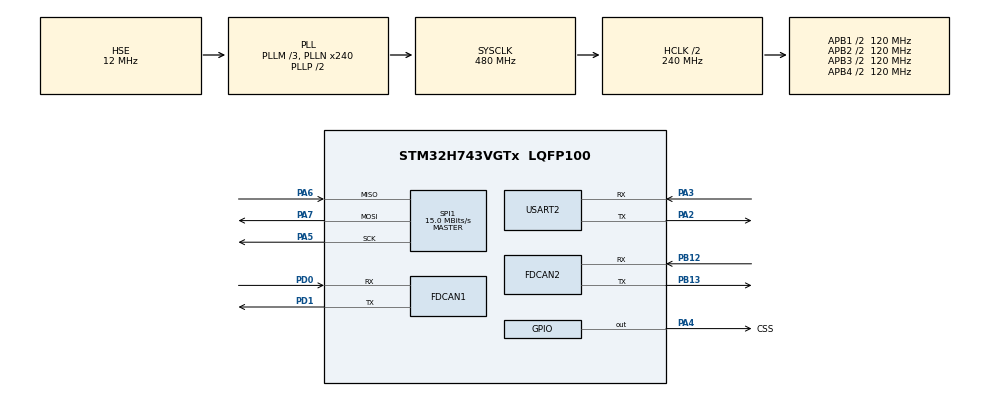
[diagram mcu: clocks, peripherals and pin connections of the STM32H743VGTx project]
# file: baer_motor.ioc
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CORTEX_M7.default_mode_Activation=1
FDCAN1.AutoRetransmission=ENABLE
FDCAN1.DataPrescaler=8
FDCAN1.DataTimeSeg1=10
FDCAN1.DataTimeSeg2=4
FDCAN1.NominalPrescaler=8
FDCAN1.NominalTimeSeg1=10
FDCAN1.NominalTimeSeg2=4
FDCAN1.RxFifo0ElmtsNbr=14
FDCAN1.TxFifoQueueElmtsNbr=14
FDCAN2.AutoRetransmission=ENABLE
FDCAN2.DataPrescaler=8
FDCAN2.DataSyncJumpWidth=1
FDCAN2.DataTimeSeg1=10
FDCAN2.DataTimeSeg2=4
FDCAN2.MessageRAMOffset=1024
FDCAN2.NominalPrescaler=8
FDCAN2.NominalTimeSeg1=10
FDCAN2.NominalTimeSeg2=4
FDCAN2.RxFifo0ElmtsNbr=14
FDCAN2.TxFifoQueueElmtsNbr=14
Mcu.Family=STM32H7
Mcu.Name=STM32H743VGTx
Mcu.Package=LQFP100
NVIC.PriorityGroup=NVIC_PRIORITYGROUP_4
NVIC.TIM5_IRQn=true\:0\:0\:false\:false\:true\:true\:true\:true
PA2.Mode=Asynchronous
PA2.Signal=USART2_TX
PA3.Mode=Asynchronous
PA3.Signal=USART2_RX
PA4.GPIO_Label=CSS
PA4.Signal=GPIO_Output
PA5.Mode=Full_Duplex_Master
PA5.Signal=SPI1_SCK
PA6.Mode=Full_Duplex_Master
PA6.Signal=SPI1_MISO
PA7.Mode=Full_Duplex_Master
PA7.Signal=SPI1_MOSI
PB12.Mode=FDCAN_Activate
PB12.Signal=FDCAN2_RX
PB13.Mode=FDCAN_Activate
PB13.Signal=FDCAN2_TX
PD0.Mode=FDCAN_Activate
PD0.Signal=FDCAN1_RX
PD1.Mode=FDCAN_Activate
PD1.Signal=FDCAN1_TX
PH0-OSC_IN\ (PH0).Mode=HSE-External-Oscillator
PH0-OSC_IN\ (PH0).Signal=RCC_OSC_IN
PH1-OSC_OUT\ (PH1).Mode=HSE-External-Oscillator
PH1-OSC_OUT\ (PH1).Signal=RCC_OSC_OUT
ProjectManager.HeapSize=0x200
ProjectManager.StackSize=0x400
ProjectManager.TargetToolchain=STM32CubeIDE
RCC.ADCFreq_Value=24187500
RCC.APB1Freq_Value=120000000
RCC.APB2Freq_Value=120000000
RCC.APB3Freq_Value=120000000
RCC.APB4Freq_Value=120000000
RCC.CortexFreq_Value=480000000
RCC.D1PPRE=RCC_APB3_DIV2
RCC.D2PPRE1=RCC_APB1_DIV2
RCC.D2PPRE2=RCC_APB2_DIV2
RCC.D3PPRE=RCC_APB4_DIV2
RCC.DIVM1=3
RCC.DIVN1=240
RCC.DIVQ1=8
RCC.HCLKFreq_Value=240000000
RCC.HPRE=RCC_HCLK_DIV2
RCC.HSE_VALUE=12000000
RCC.PLLSourceVirtual=RCC_PLLSOURCE_HSE
RCC.SYSCLKFreq_VALUE=480000000
RCC.SYSCLKSource=RCC_SYSCLKSOURCE_PLLCLK
RCC.USBFreq_Value=120000000
SPI1.BaudRatePrescaler=SPI_BAUDRATEPRESCALER_8
SPI1.CLKPhase=SPI_PHASE_2EDGE
SPI1.CLKPolarity=SPI_POLARITY_HIGH
SPI1.CalculateBaudRate=15.0 MBits/s
SPI1.DataSize=SPI_DATASIZE_8BIT
SPI1.Direction=SPI_DIRECTION_2LINES
SPI1.Mode=SPI_MODE_MASTER
SPI1.VirtualType=VM_MASTER
TIM2.Prescaler=239
TIM4.Prescaler=239
TIM5.Period=999
TIM5.Prescaler=239
USART2.VirtualMode-Asynchronous=VM_ASYNC
VP_TIM2_VS_ClockSourceINT.Mode=Internal
VP_TIM4_VS_ClockSourceINT.Mode=Internal
VP_TIM5_VS_ClockSourceINT.Mode=Internal
board=custom

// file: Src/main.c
/* USER CODE BEGIN Header */
/**
  ******************************************************************************
  * @file           : main.c
  * @brief          : Main program body
  ******************************************************************************
  * @attention
  *
  * Copyright (c) 2022 STMicroelectronics.
  * All rights reserved.
  *
  * This software is licensed under terms that can be found in the LICENSE file
  * in the root directory of this software component.
  * If no LICENSE file comes with this software, it is provided AS-IS.
  *
  ******************************************************************************
  */
/* USER CODE END Header */
#include "main.h"

/* USER CODE BEGIN Includes */
#include "../lan9252/lan9252.h"
/* USER CODE END Includes */

/* USER CODE BEGIN PD */
PROCBUFFER_OUT 	BufferOut;
PROCBUFFER_IN 	BufferIn;

spiCTX ethercat_slave;

/* USER CODE END PD */

FDCAN_HandleTypeDef hfdcan1;
FDCAN_HandleTypeDef hfdcan2;

SPI_HandleTypeDef hspi1;

TIM_HandleTypeDef htim2;
TIM_HandleTypeDef htim4;
TIM_HandleTypeDef htim5;

UART_HandleTypeDef huart2;

/* USER CODE BEGIN PV */

// joint 1-7 in can1
FDCAN_TxHeaderTypeDef joint_1;
FDCAN_TxHeaderTypeDef joint_2;
FDCAN_TxHeaderTypeDef joint_3;
FDCAN_TxHeaderTypeDef joint_4;
FDCAN_TxHeaderTypeDef joint_5;
FDCAN_TxHeaderTypeDef joint_6;
FDCAN_TxHeaderTypeDef joint_7;

// joint 8-14 in can2
FDCAN_TxHeaderTypeDef joint_8;
FDCAN_TxHeaderTypeDef joint_9;
FDCAN_TxHeaderTypeDef joint_10;
FDCAN_TxHeaderTypeDef joint_11;
FDCAN_TxHeaderTypeDef joint_12;
FDCAN_TxHeaderTypeDef joint_13;
FDCAN_TxHeaderTypeDef joint_14;

uint8_t tx_msg_buffer[8];

uint8_t joint_1_data[8];
uint8_t joint_2_data[8];
uint8_t joint_3_data[8];
uint8_t joint_4_data[8];
uint8_t joint_5_data[8];
uint8_t joint_6_data[8];
uint8_t joint_7_data[8];
uint8_t joint_8_data[8];
uint8_t joint_9_data[8];
uint8_t joint_10_data[8];
uint8_t joint_11_data[8];
uint8_t joint_12_data[8];
uint8_t joint_13_data[8];
uint8_t joint_14_data[8];

uint64_t joint_r_data[14];

FDCAN_RxHeaderTypeDef rx_header;
uint8_t rx_data[8];

// for ethercat var
uint64_t hs_ = 0;

union Byte8
{
	uint64_t udata;
	uint8_t buffer[8];
};

union Byte8 byte_8;
union Byte8 byte_8_reply;
uint64_t reply_hs[6];

/* USER CODE END PV */

void SystemClock_Config(void);
static void MPU_Config(void);
static void MX_GPIO_Init(void);
static void MX_FDCAN1_Init(void);
static void MX_FDCAN2_Init(void);
static void MX_SPI1_Init(void);
static void MX_TIM2_Init(void);
static void MX_TIM4_Init(void);
static void MX_TIM5_Init(void);
static void MX_USART2_UART_Init(void);
/* USER CODE BEGIN PFP */

void delay_us(uint16_t us)
{
	__HAL_TIM_SET_COUNTER(&htim4, 0);
	while (__HAL_TIM_GET_COUNTER(&htim4) < us) ;
}

void unpack_reply(FDCAN_RxHeaderTypeDef *pRxHeader, uint8_t *data)
{
	//TODO
	/*if (pRxHeader->DataLength == FDCAN_DLC_BYTES_6)
	{
		int id = data[0] & 0xF;
		if (id > 0 && id < 7)
		{
			for (size_t i = 0; i < 6; i++)
			{
				byte_8_reply.buffer[i] = data[i];
			}

			joint_r_data[id - 1] = byte_8_reply.udata;
			reply_hs[id - 1] = hs_;
		}
	}
	else if (pRxHeader->DataLength == FDCAN_DLC_BYTES_5)
	{
		int id = data[4];
		if (id > 0 && id < 7)
		{
			for (size_t i = 0; i < 5; i++)
			{
				byte_8_reply.buffer[i] = data[i];
			}

			for (size_t i = 5; i < 8; i++)
			{
				byte_8_reply.buffer[i] = 0;
			}

			joint_r_data[id - 1] = byte_8_reply.udata;
			reply_hs[id - 1] = hs_;
		}
	}*/

	if (pRxHeader->DataLength == FDCAN_DLC_BYTES_8)
	{
		int id = data[0] & 0xF;
		if (id > 0 && id < 15)
		{
			for (size_t i = 0; i < 8; i++)
			{
				byte_8_reply.buffer[i] = data[i];
			}

			joint_r_data[id - 1] = byte_8_reply.udata;
			reply_hs[id - 1] = hs_;
		}
	}
	else if (pRxHeader->DataLength == FDCAN_DLC_BYTES_6)
	{
		int id = data[0] & 0xF;
		if (id > 0 && id < 15)
		{
			for (size_t i = 0; i < 6; i++)
			{
				byte_8_reply.buffer[i] = data[i];
			}

			joint_r_data[id - 1] = byte_8_reply.udata;
			reply_hs[id - 1] = hs_;
		}
	}

}

/* USER CODE END PFP */

/* USER CODE BEGIN 0 */
void motor_enable(FDCAN_TxHeaderTypeDef* joint_tx, uint8_t* data_buffer)
{
	joint_tx->DataLength = FDCAN_DLC_BYTES_8;
	data_buffer[0] = 0xff;
	data_buffer[1] = 0xff;
	data_buffer[2] = 0xff;
	data_buffer[3] = 0xff;
	data_buffer[4] = 0xff;
	data_buffer[5] = 0xff;
	data_buffer[6] = 0xff;
	data_buffer[7] = 0xfc;
}

void motor_zero(FDCAN_TxHeaderTypeDef* joint_tx, uint8_t* data_buffer)
{
	joint_tx->DataLength = FDCAN_DLC_BYTES_8;
	data_buffer[0] = 0xff;
	data_buffer[1] = 0xff;
	data_buffer[2] = 0xff;
	data_buffer[3] = 0xff;
	data_buffer[4] = 0xff;
	data_buffer[5] = 0xff;
	data_buffer[6] = 0xff;
	data_buffer[7] = 0xfe;
}

void motor_disable(FDCAN_TxHeaderTypeDef* joint_tx, uint8_t* data_buffer)
{
	joint_tx->DataLength = FDCAN_DLC_BYTES_8;
	data_buffer[0] = 0xff;
	data_buffer[1] = 0xff;
	data_buffer[2] = 0xff;
	data_buffer[3] = 0xff;
	data_buffer[4] = 0xff;
	data_buffer[5] = 0xff;
	data_buffer[6] = 0xff;
	data_buffer[7] = 0xfd;
}

void motor_encoder_val(FDCAN_TxHeaderTypeDef* joint_tx, uint8_t* data_buffer, uint8_t joint_no)
{
	joint_tx->DataLength = FDCAN_DLC_BYTES_8;
	data_buffer[0] = joint_no;
	data_buffer[1] = 0xff;
	data_buffer[2] = 0xff;
	data_buffer[3] = 0xff;
	data_buffer[4] = 0xff;
	data_buffer[5] = 0xff;
	data_buffer[6] = 0xff;
	data_buffer[7] = 0xf8;
}

/* USER CODE END 0 */

int main(void)
{

  /* MPU Configuration--------------------------------------------------------*/
  MPU_Config();

  /* MCU Configuration--------------------------------------------------------*/

  /* Reset of all peripherals, Initializes the Flash interface and the Systick. */
  HAL_Init();

  /* Configure the system clock */
  SystemClock_Config();

  /* Initialize all configured peripherals */
  MX_GPIO_Init();
  MX_FDCAN1_Init();
  MX_FDCAN2_Init();
  MX_SPI1_Init();
  MX_TIM2_Init();
  MX_TIM4_Init();
  MX_TIM5_Init();
  MX_USART2_UART_Init();
  /* USER CODE BEGIN 2 */

	//1. init tx msg
	joint_1.Identifier = 0x101;
	joint_1.IdType = FDCAN_STANDARD_ID;
	joint_1.TxFrameType = FDCAN_DATA_FRAME;
	joint_1.DataLength = FDCAN_DLC_BYTES_8;
	joint_1.ErrorStateIndicator = FDCAN_ESI_ACTIVE;
	joint_1.BitRateSwitch = FDCAN_BRS_OFF;
	joint_1.FDFormat = FDCAN_CLASSIC_CAN;
	joint_1.TxEventFifoControl = FDCAN_NO_TX_EVENTS;
	joint_1.MessageMarker = 0;

	joint_2.Identifier = 0x102;
	joint_2.IdType = FDCAN_STANDARD_ID;
	joint_2.TxFrameType = FDCAN_DATA_FRAME;
	joint_2.DataLength = FDCAN_DLC_BYTES_8;
	joint_2.ErrorStateIndicator = FDCAN_ESI_ACTIVE;
	joint_2.BitRateSwitch = FDCAN_BRS_OFF;
	joint_2.FDFormat = FDCAN_CLASSIC_CAN;
	joint_2.TxEventFifoControl = FDCAN_NO_TX_EVENTS;
	joint_2.MessageMarker = 0;

	joint_3.Identifier = 0x103;
	joint_3.IdType = FDCAN_STANDARD_ID;
	joint_3.TxFrameType = FDCAN_DATA_FRAME;
	joint_3.DataLength = FDCAN_DLC_BYTES_8;
	joint_3.ErrorStateIndicator = FDCAN_ESI_ACTIVE;
	joint_3.BitRateSwitch = FDCAN_BRS_OFF;
	joint_3.FDFormat = FDCAN_CLASSIC_CAN;
	joint_3.TxEventFifoControl = FDCAN_NO_TX_EVENTS;
	joint_3.MessageMarker = 0;

	joint_4.Identifier = 0x104;
	joint_4.IdType = FDCAN_STANDARD_ID;
	joint_4.TxFrameType = FDCAN_DATA_FRAME;
	joint_4.DataLength = FDCAN_DLC_BYTES_8;
	joint_4.ErrorStateIndicator = FDCAN_ESI_ACTIVE;
	joint_4.BitRateSwitch = FDCAN_BRS_OFF;
	joint_4.FDFormat = FDCAN_CLASSIC_CAN;
	joint_4.TxEventFifoControl = FDCAN_NO_TX_EVENTS;
	joint_4.MessageMarker = 0;

	joint_5.Identifier = 0x105;
	joint_5.IdType = FDCAN_STANDARD_ID;
	joint_5.TxFrameType = FDCAN_DATA_FRAME;
	joint_5.DataLength = FDCAN_DLC_BYTES_8;
	joint_5.ErrorStateIndicator = FDCAN_ESI_ACTIVE;
	joint_5.BitRateSwitch = FDCAN_BRS_OFF;
	joint_5.FDFormat = FDCAN_CLASSIC_CAN;
	joint_5.TxEventFifoControl = FDCAN_NO_TX_EVENTS;
	joint_5.MessageMarker = 0;

	joint_6.Identifier = 0x106;
	joint_6.IdType = FDCAN_STANDARD_ID;
	joint_6.TxFrameType = FDCAN_DATA_FRAME;
	joint_6.DataLength = FDCAN_DLC_BYTES_8;
	joint_6.ErrorStateIndicator = FDCAN_ESI_ACTIVE;
	joint_6.BitRateSwitch = FDCAN_BRS_OFF;
	joint_6.FDFormat = FDCAN_CLASSIC_CAN;
	joint_6.TxEventFifoControl = FDCAN_NO_TX_EVENTS;
	joint_6.MessageMarker = 0;

	joint_7.Identifier = 0x107;
	joint_7.IdType = FDCAN_STANDARD_ID;
	joint_7.TxFrameType = FDCAN_DATA_FRAME;
	joint_7.DataLength = FDCAN_DLC_BYTES_8;
	joint_7.ErrorStateIndicator = FDCAN_ESI_ACTIVE;
	joint_7.BitRateSwitch = FDCAN_BRS_OFF;
	joint_7.FDFormat = FDCAN_CLASSIC_CAN;
	joint_7.TxEventFifoControl = FDCAN_NO_TX_EVENTS;
	joint_7.MessageMarker = 0;

	joint_8.Identifier = 0x108;
	joint_8.IdType = FDCAN_STANDARD_ID;
	joint_8.TxFrameType = FDCAN_DATA_FRAME;
	joint_8.DataLength = FDCAN_DLC_BYTES_8;
	joint_8.ErrorStateIndicator = FDCAN_ESI_ACTIVE;
	joint_8.BitRateSwitch = FDCAN_BRS_OFF;
	joint_8.FDFormat = FDCAN_CLASSIC_CAN;
	joint_8.TxEventFifoControl = FDCAN_NO_TX_EVENTS;
	joint_8.MessageMarker = 0;

	joint_9.Identifier = 0x109;
	joint_9.IdType = FDCAN_STANDARD_ID;
	joint_9.TxFrameType = FDCAN_DATA_FRAME;
	joint_9.DataLength = FDCAN_DLC_BYTES_8;
	joint_9.ErrorStateIndicator = FDCAN_ESI_ACTIVE;
	joint_9.BitRateSwitch = FDCAN_BRS_OFF;
	joint_9.FDFormat = FDCAN_CLASSIC_CAN;
	joint_9.TxEventFifoControl = FDCAN_NO_TX_EVENTS;
	joint_9.MessageMarker = 0;

	joint_10.Identifier = 0x10a;
	joint_10.IdType = FDCAN_STANDARD_ID;
	joint_10.TxFrameType = FDCAN_DATA_FRAME;
	joint_10.DataLength = FDCAN_DLC_BYTES_8;
	joint_10.ErrorStateIndicator = FDCAN_ESI_ACTIVE;
	joint_10.BitRateSwitch = FDCAN_BRS_OFF;
	joint_10.FDFormat = FDCAN_CLASSIC_CAN;
	joint_10.TxEventFifoControl = FDCAN_NO_TX_EVENTS;
	joint_10.MessageMarker = 0;

	joint_11.Identifier = 0x10b;
	joint_11.IdType = FDCAN_STANDARD_ID;
	joint_11.TxFrameType = FDCAN_DATA_FRAME;
	joint_11.DataLength = FDCAN_DLC_BYTES_8;
	joint_11.ErrorStateIndicator = FDCAN_ESI_ACTIVE;
	joint_11.BitRateSwitch = FDCAN_BRS_OFF;
	joint_11.FDFormat = FDCAN_CLASSIC_CAN;
	joint_11.TxEventFifoControl = FDCAN_NO_TX_EVENTS;
	joint_11.MessageMarker = 0;

	joint_12.Identifier = 0x10c;
	joint_12.IdType = FDCAN_STANDARD_ID;
	joint_12.TxFrameType = FDCAN_DATA_FRAME;
	joint_12.DataLength = FDCAN_DLC_BYTES_8;
	joint_12.ErrorStateIndicator = FDCAN_ESI_ACTIVE;
	joint_12.BitRateSwitch = FDCAN_BRS_OFF;
	joint_12.FDFormat = FDCAN_CLASSIC_CAN;
	joint_12.TxEventFifoControl = FDCAN_NO_TX_EVENTS;
	joint_12.MessageMarker = 0;

	joint_13.Identifier = 0x10d;
	joint_13.IdType = FDCAN_STANDARD_ID;
	joint_13.TxFrameType = FDCAN_DATA_FRAME;
	joint_13.DataLength = FDCAN_DLC_BYTES_8;
	joint_13.ErrorStateIndicator = FDCAN_ESI_ACTIVE;
	joint_13.BitRateSwitch = FDCAN_BRS_OFF;
	joint_13.FDFormat = FDCAN_CLASSIC_CAN;
	joint_13.TxEventFifoControl = FDCAN_NO_TX_EVENTS;
	joint_13.MessageMarker = 0;

	joint_14.Identifier = 0x10e;
	joint_14.IdType = FDCAN_STANDARD_ID;
	joint_14.TxFrameType = FDCAN_DATA_FRAME;
	joint_14.DataLength = FDCAN_DLC_BYTES_8;
	joint_14.ErrorStateIndicator = FDCAN_ESI_ACTIVE;
	joint_14.BitRateSwitch = FDCAN_BRS_OFF;
	joint_14.FDFormat = FDCAN_CLASSIC_CAN;
	joint_14.TxEventFifoControl = FDCAN_NO_TX_EVENTS;
	joint_14.MessageMarker = 0;

	HAL_FDCAN_Start(&hfdcan1);
	HAL_FDCAN_Start(&hfdcan2);

	HAL_Delay(10);
	HAL_TIM_Base_Start(&htim2);
	HAL_TIM_Base_Start(&htim4);

	HAL_Delay(10);

	// 1. init lan9252
	ethercat_slave.spi = &hspi1;
	ethercat_slave.uart = &huart2;
	ethercat_slave.bIn = &BufferIn;
	ethercat_slave.bOut = &BufferOut;
	HAL_Delay(10);

	init9252(&ethercat_slave);

	HAL_Delay(100);

	HAL_TIM_Base_Start_IT(&htim5);

	HAL_Delay(100);

  /* USER CODE END 2 */

  /* Infinite loop */
  while (1)
  {

    /* USER CODE BEGIN 3 */
	  if (HAL_FDCAN_GetRxMessage(&hfdcan1, FDCAN_RX_FIFO0, &rx_header, rx_data) == HAL_OK)
	  {
		  unpack_reply(&rx_header, rx_data);
	  }
	  if (HAL_FDCAN_GetRxMessage(&hfdcan2, FDCAN_RX_FIFO0, &rx_header, rx_data) == HAL_OK)
	  {
		  unpack_reply(&rx_header, rx_data);
	  }
	  delay_us(10);
  }
  /* USER CODE END 3 */
}

void SystemClock_Config(void)
{
  RCC_OscInitTypeDef RCC_OscInitStruct = {0};
  RCC_ClkInitTypeDef RCC_ClkInitStruct = {0};

  /** Supply configuration update enable
  */
  HAL_PWREx_ConfigSupply(PWR_LDO_SUPPLY);

  /** Configure the main internal regulator output voltage
  */
  __HAL_PWR_VOLTAGESCALING_CONFIG(PWR_REGULATOR_VOLTAGE_SCALE0);

  while(!__HAL_PWR_GET_FLAG(PWR_FLAG_VOSRDY)) {}

  /** Initializes the RCC Oscillators according to the specified parameters
  * in the RCC_OscInitTypeDef structure.
  */
  RCC_OscInitStruct.OscillatorType = RCC_OSCILLATORTYPE_HSE;
  RCC_OscInitStruct.HSEState = RCC_HSE_ON;
  RCC_OscInitStruct.PLL.PLLState = RCC_PLL_ON;
  RCC_OscInitStruct.PLL.PLLSource = RCC_PLLSOURCE_HSE;
  RCC_OscInitStruct.PLL.PLLM = 3;
  RCC_OscInitStruct.PLL.PLLN = 240;
  RCC_OscInitStruct.PLL.PLLP = 2;
  RCC_OscInitStruct.PLL.PLLQ = 8;
  RCC_OscInitStruct.PLL.PLLR = 2;
  RCC_OscInitStruct.PLL.PLLRGE = RCC_PLL1VCIRANGE_2;
  RCC_OscInitStruct.PLL.PLLVCOSEL = RCC_PLL1VCOWIDE;
  RCC_OscInitStruct.PLL.PLLFRACN = 0;
  if (HAL_RCC_OscConfig(&RCC_OscInitStruct) != HAL_OK)
  {
    Error_Handler();
  }

  /** Initializes the CPU, AHB and APB buses clocks
  */
  RCC_ClkInitStruct.ClockType = RCC_CLOCKTYPE_HCLK|RCC_CLOCKTYPE_SYSCLK
                              |RCC_CLOCKTYPE_PCLK1|RCC_CLOCKTYPE_PCLK2
                              |RCC_CLOCKTYPE_D3PCLK1|RCC_CLOCKTYPE_D1PCLK1;
  RCC_ClkInitStruct.SYSCLKSource = RCC_SYSCLKSOURCE_PLLCLK;
  RCC_ClkInitStruct.SYSCLKDivider = RCC_SYSCLK_DIV1;
  RCC_ClkInitStruct.AHBCLKDivider = RCC_HCLK_DIV2;
  RCC_ClkInitStruct.APB3CLKDivider = RCC_APB3_DIV2;
  RCC_ClkInitStruct.APB1CLKDivider = RCC_APB1_DIV2;
  RCC_ClkInitStruct.APB2CLKDivider = RCC_APB2_DIV2;
  RCC_ClkInitStruct.APB4CLKDivider = RCC_APB4_DIV2;

  if (HAL_RCC_ClockConfig(&RCC_ClkInitStruct, FLASH_LATENCY_4) != HAL_OK)
  {
    Error_Handler();
  }
}

static void MX_FDCAN1_Init(void)
{

  hfdcan1.Instance = FDCAN1;
  hfdcan1.Init.FrameFormat = FDCAN_FRAME_CLASSIC;
  hfdcan1.Init.Mode = FDCAN_MODE_NORMAL;
  hfdcan1.Init.AutoRetransmission = ENABLE;
  hfdcan1.Init.TransmitPause = DISABLE;
  hfdcan1.Init.ProtocolException = DISABLE;
  hfdcan1.Init.NominalPrescaler = 8;
  hfdcan1.Init.NominalSyncJumpWidth = 1;
  hfdcan1.Init.NominalTimeSeg1 = 10;
  hfdcan1.Init.NominalTimeSeg2 = 4;
  hfdcan1.Init.DataPrescaler = 8;
  hfdcan1.Init.DataSyncJumpWidth = 1;
  hfdcan1.Init.DataTimeSeg1 = 10;
  hfdcan1.Init.DataTimeSeg2 = 4;
  hfdcan1.Init.MessageRAMOffset = 0;
  hfdcan1.Init.StdFiltersNbr = 0;
  hfdcan1.Init.ExtFiltersNbr = 0;
  hfdcan1.Init.RxFifo0ElmtsNbr = 14;
  hfdcan1.Init.RxFifo0ElmtSize = FDCAN_DATA_BYTES_8;
  hfdcan1.Init.RxFifo1ElmtsNbr = 0;
  hfdcan1.Init.RxFifo1ElmtSize = FDCAN_DATA_BYTES_8;
  hfdcan1.Init.RxBuffersNbr = 0;
  hfdcan1.Init.RxBufferSize = FDCAN_DATA_BYTES_8;
  hfdcan1.Init.TxEventsNbr = 0;
  hfdcan1.Init.TxBuffersNbr = 0;
  hfdcan1.Init.TxFifoQueueElmtsNbr = 14;
  hfdcan1.Init.TxFifoQueueMode = FDCAN_TX_FIFO_OPERATION;
  hfdcan1.Init.TxElmtSize = FDCAN_DATA_BYTES_8;
  if (HAL_FDCAN_Init(&hfdcan1) != HAL_OK)
  {
    Error_Handler();
  }

}

static void MX_FDCAN2_Init(void)
{

  hfdcan2.Instance = FDCAN2;
  hfdcan2.Init.FrameFormat = FDCAN_FRAME_CLASSIC;
  hfdcan2.Init.Mode = FDCAN_MODE_NORMAL;
  hfdcan2.Init.AutoRetransmission = ENABLE;
  hfdcan2.Init.TransmitPause = DISABLE;
  hfdcan2.Init.ProtocolException = DISABLE;
  hfdcan2.Init.NominalPrescaler = 8;
  hfdcan2.Init.NominalSyncJumpWidth = 1;
  hfdcan2.Init.NominalTimeSeg1 = 10;
  hfdcan2.Init.NominalTimeSeg2 = 4;
  hfdcan2.Init.DataPrescaler = 8;
  hfdcan2.Init.DataSyncJumpWidth = 1;
  hfdcan2.Init.DataTimeSeg1 = 10;
  hfdcan2.Init.DataTimeSeg2 = 4;
  hfdcan2.Init.MessageRAMOffset = 1024;
  hfdcan2.Init.StdFiltersNbr = 0;
  hfdcan2.Init.ExtFiltersNbr = 0;
  hfdcan2.Init.RxFifo0ElmtsNbr = 14;
  hfdcan2.Init.RxFifo0ElmtSize = FDCAN_DATA_BYTES_8;
  hfdcan2.Init.RxFifo1ElmtsNbr = 0;
  hfdcan2.Init.RxFifo1ElmtSize = FDCAN_DATA_BYTES_8;
  hfdcan2.Init.RxBuffersNbr = 0;
  hfdcan2.Init.RxBufferSize = FDCAN_DATA_BYTES_8;
  hfdcan2.Init.TxEventsNbr = 0;
  hfdcan2.Init.TxBuffersNbr = 0;
  hfdcan2.Init.TxFifoQueueElmtsNbr = 14;
  hfdcan2.Init.TxFifoQueueMode = FDCAN_TX_FIFO_OPERATION;
  hfdcan2.Init.TxElmtSize = FDCAN_DATA_BYTES_8;
  if (HAL_FDCAN_Init(&hfdcan2) != HAL_OK)
  {
    Error_Handler();
  }

}

static void MX_SPI1_Init(void)
{

  /* SPI1 parameter configuration*/
  hspi1.Instance = SPI1;
  hspi1.Init.Mode = SPI_MODE_MASTER;
  hspi1.Init.Direction = SPI_DIRECTION_2LINES;
  hspi1.Init.DataSize = SPI_DATASIZE_8BIT;
  hspi1.Init.CLKPolarity = SPI_POLARITY_HIGH;
  hspi1.Init.CLKPhase = SPI_PHASE_2EDGE;
  hspi1.Init.NSS = SPI_NSS_SOFT;
  hspi1.Init.BaudRatePrescaler = SPI_BAUDRATEPRESCALER_8;
  hspi1.Init.FirstBit = SPI_FIRSTBIT_MSB;
  hspi1.Init.TIMode = SPI_TIMODE_DISABLE;
  hspi1.Init.CRCCalculation = SPI_CRCCALCULATION_DISABLE;
  hspi1.Init.CRCPolynomial = 0x0;
  hspi1.Init.NSSPMode = SPI_NSS_PULSE_ENABLE;
  hspi1.Init.NSSPolarity = SPI_NSS_POLARITY_LOW;
  hspi1.Init.FifoThreshold = SPI_FIFO_THRESHOLD_01DATA;
  hspi1.Init.TxCRCInitializationPattern = SPI_CRC_INITIALIZATION_ALL_ZERO_PATTERN;
  hspi1.Init.RxCRCInitializationPattern = SPI_CRC_INITIALIZATION_ALL_ZERO_PATTERN;
  hspi1.Init.MasterSSIdleness = SPI_MASTER_SS_IDLENESS_00CYCLE;
  hspi1.Init.MasterInterDataIdleness = SPI_MASTER_INTERDATA_IDLENESS_00CYCLE;
  hspi1.Init.MasterReceiverAutoSusp = SPI_MASTER_RX_AUTOSUSP_DISABLE;
  hspi1.Init.MasterKeepIOState = SPI_MASTER_KEEP_IO_STATE_DISABLE;
  hspi1.Init.IOSwap = SPI_IO_SWAP_DISABLE;
  if (HAL_SPI_Init(&hspi1) != HAL_OK)
  {
    Error_Handler();
  }

}

static void MX_TIM2_Init(void)
{

  TIM_ClockConfigTypeDef sClockSourceConfig = {0};
  TIM_MasterConfigTypeDef sMasterConfig = {0};

  htim2.Instance = TIM2;
  htim2.Init.Prescaler = 239;
  htim2.Init.CounterMode = TIM_COUNTERMODE_UP;
  htim2.Init.Period = 4294967295;
  htim2.Init.ClockDivision = TIM_CLOCKDIVISION_DIV1;
  htim2.Init.AutoReloadPreload = TIM_AUTORELOAD_PRELOAD_DISABLE;
  if (HAL_TIM_Base_Init(&htim2) != HAL_OK)
  {
    Error_Handler();
  }
  sClockSourceConfig.ClockSource = TIM_CLOCKSOURCE_INTERNAL;
  if (HAL_TIM_ConfigClockSource(&htim2, &sClockSourceConfig) != HAL_OK)
  {
    Error_Handler();
  }
  sMasterConfig.MasterOutputTrigger = TIM_TRGO_RESET;
  sMasterConfig.MasterSlaveMode = TIM_MASTERSLAVEMODE_DISABLE;
  if (HAL_TIMEx_MasterConfigSynchronization(&htim2, &sMasterConfig) != HAL_OK)
  {
    Error_Handler();
  }

}

static void MX_TIM4_Init(void)
{

  TIM_ClockConfigTypeDef sClockSourceConfig = {0};
  TIM_MasterConfigTypeDef sMasterConfig = {0};

  htim4.Instance = TIM4;
  htim4.Init.Prescaler = 239;
  htim4.Init.CounterMode = TIM_COUNTERMODE_UP;
  htim4.Init.Period = 65535;
  htim4.Init.ClockDivision = TIM_CLOCKDIVISION_DIV1;
  htim4.Init.AutoReloadPreload = TIM_AUTORELOAD_PRELOAD_DISABLE;
  if (HAL_TIM_Base_Init(&htim4) != HAL_OK)
  {
    Error_Handler();
  }
  sClockSourceConfig.ClockSource = TIM_CLOCKSOURCE_INTERNAL;
  if (HAL_TIM_ConfigClockSource(&htim4, &sClockSourceConfig) != HAL_OK)
  {
    Error_Handler();
  }
  sMasterConfig.MasterOutputTrigger = TIM_TRGO_RESET;
  sMasterConfig.MasterSlaveMode = TIM_MASTERSLAVEMODE_DISABLE;
  if (HAL_TIMEx_MasterConfigSynchronization(&htim4, &sMasterConfig) != HAL_OK)
  {
    Error_Handler();
  }

}

static void MX_TIM5_Init(void)
{

  TIM_ClockConfigTypeDef sClockSourceConfig = {0};
  TIM_MasterConfigTypeDef sMasterConfig = {0};

  htim5.Instance = TIM5;
  htim5.Init.Prescaler = 239;
  htim5.Init.CounterMode = TIM_COUNTERMODE_UP;
  htim5.Init.Period = 999;
  htim5.Init.ClockDivision = TIM_CLOCKDIVISION_DIV1;
  htim5.Init.AutoReloadPreload = TIM_AUTORELOAD_PRELOAD_DISABLE;
  if (HAL_TIM_Base_Init(&htim5) != HAL_OK)
  {
    Error_Handler();
  }
  sClockSourceConfig.ClockSource = TIM_CLOCKSOURCE_INTERNAL;
  if (HAL_TIM_ConfigClockSource(&htim5, &sClockSourceConfig) != HAL_OK)
  {
    Error_Handler();
  }
  sMasterConfig.MasterOutputTrigger = TIM_TRGO_RESET;
  sMasterConfig.MasterSlaveMode = TIM_MASTERSLAVEMODE_DISABLE;
  if (HAL_TIMEx_MasterConfigSynchronization(&htim5, &sMasterConfig) != HAL_OK)
  {
    Error_Handler();
  }

}

static void MX_USART2_UART_Init(void)
{

  huart2.Instance = USART2;
  huart2.Init.BaudRate = 115200;
  huart2.Init.WordLength = UART_WORDLENGTH_8B;
  huart2.Init.StopBits = UART_STOPBITS_1;
  huart2.Init.Parity = UART_PARITY_NONE;
  huart2.Init.Mode = UART_MODE_TX_RX;
  huart2.Init.HwFlowCtl = UART_HWCONTROL_NONE;
  huart2.Init.OverSampling = UART_OVERSAMPLING_16;
  huart2.Init.OneBitSampling = UART_ONE_BIT_SAMPLE_DISABLE;
  huart2.Init.ClockPrescaler = UART_PRESCALER_DIV1;
  huart2.AdvancedInit.AdvFeatureInit = UART_ADVFEATURE_NO_INIT;
  if (HAL_UART_Init(&huart2) != HAL_OK)
  {
    Error_Handler();
  }
  if (HAL_UARTEx_SetTxFifoThreshold(&huart2, UART_TXFIFO_THRESHOLD_1_8) != HAL_OK)
  {
    Error_Handler();
  }
  if (HAL_UARTEx_SetRxFifoThreshold(&huart2, UART_RXFIFO_THRESHOLD_1_8) != HAL_OK)
  {
    Error_Handler();
  }
  if (HAL_UARTEx_DisableFifoMode(&huart2) != HAL_OK)
  {
    Error_Handler();
  }

}

static void MX_GPIO_Init(void)
{
  GPIO_InitTypeDef GPIO_InitStruct = {0};

  /* GPIO Ports Clock Enable */
  __HAL_RCC_GPIOH_CLK_ENABLE();
  __HAL_RCC_GPIOA_CLK_ENABLE();
  __HAL_RCC_GPIOB_CLK_ENABLE();
  __HAL_RCC_GPIOD_CLK_ENABLE();

  /*Configure GPIO pin Output Level */
  HAL_GPIO_WritePin(CSS_GPIO_Port, CSS_Pin, GPIO_PIN_RESET);

  /*Configure GPIO pin : CSS_Pin */
  GPIO_InitStruct.Pin = CSS_Pin;
  GPIO_InitStruct.Mode = GPIO_MODE_OUTPUT_PP;
  GPIO_InitStruct.Pull = GPIO_NOPULL;
  GPIO_InitStruct.Speed = GPIO_SPEED_FREQ_LOW;
  HAL_GPIO_Init(CSS_GPIO_Port, &GPIO_InitStruct);

}

/* USER CODE BEGIN 4 */

uint32_t can1_error_counter = 0;
uint32_t can2_error_counter = 0;
uint32_t can1_last_error_code = 0;
uint32_t can2_last_error_code = 0;

uint64_t control_word;

int is_enable = 0;
int motor_init_state = 0;

void send_to_all_slave()
{
	if (HAL_FDCAN_AddMessageToTxFifoQ(&hfdcan2, &joint_1, joint_1_data) != HAL_OK)
	{
		can1_error_counter += 1;
	}

	if (HAL_FDCAN_AddMessageToTxFifoQ(&hfdcan2, &joint_2, joint_2_data) != HAL_OK)
	{
		can1_error_counter += 1;
	}

	if (HAL_FDCAN_AddMessageToTxFifoQ(&hfdcan2, &joint_3, joint_3_data) != HAL_OK)
	{
		can1_error_counter += 1;
	}

	if (HAL_FDCAN_AddMessageToTxFifoQ(&hfdcan2, &joint_4, joint_4_data) != HAL_OK)
	{
		can1_error_counter += 1;
	}

	if (HAL_FDCAN_AddMessageToTxFifoQ(&hfdcan2, &joint_5, joint_5_data) != HAL_OK)
	{
		can1_error_counter += 1;
	}

	if (HAL_FDCAN_AddMessageToTxFifoQ(&hfdcan2, &joint_6, joint_6_data) != HAL_OK)
	{
		can1_error_counter += 1;
	}

	if (HAL_FDCAN_AddMessageToTxFifoQ(&hfdcan2, &joint_7, joint_7_data) != HAL_OK)
	{
		can1_error_counter += 1;
	}

	if (HAL_FDCAN_AddMessageToTxFifoQ(&hfdcan1, &joint_8, joint_8_data) != HAL_OK)
	{
		can1_error_counter += 1;
	}

	if (HAL_FDCAN_AddMessageToTxFifoQ(&hfdcan1, &joint_9, joint_9_data) != HAL_OK)
	{
		can1_error_counter += 1;
	}

	if (HAL_FDCAN_AddMessageToTxFifoQ(&hfdcan1, &joint_10, joint_10_data) != HAL_OK)
	{
		can1_error_counter += 1;
	}

	if (HAL_FDCAN_AddMessageToTxFifoQ(&hfdcan1, &joint_11, joint_11_data) != HAL_OK)
	{
		can1_error_counter += 1;
	}

	if (HAL_FDCAN_AddMessageToTxFifoQ(&hfdcan1, &joint_12, joint_12_data) != HAL_OK)
	{
		can1_error_counter += 1;
	}

	if (HAL_FDCAN_AddMessageToTxFifoQ(&hfdcan1, &joint_13, joint_13_data) != HAL_OK)
	{
		can1_error_counter += 1;
	}

	if (HAL_FDCAN_AddMessageToTxFifoQ(&hfdcan1, &joint_14, joint_14_data) != HAL_OK)
	{
		can1_error_counter += 1;
	}
}

/*void send_to_joint(int joint_no)
{
	if (joint_no == 1 || joint_no == 2 || joint_no == 3)
	{
		if (HAL_FDCAN_AddMessageToTxFifoQ(&hfdcan1, &joint_encoder, joint_encoder_data) != HAL_OK)
		{
			can1_error_counter += 1;
		}
	}
	else if (joint_no == 4 || joint_no == 5 || joint_no == 6)
	{
		if (HAL_FDCAN_AddMessageToTxFifoQ(&hfdcan2, &joint_encoder, joint_encoder_data) != HAL_OK)
		{
			can1_error_counter += 1;
		}
	}
}*/

void pack_motor_data()
{
	byte_8.udata = BufferOut.Cust.motor_1;
	for (size_t i = 0; i < 8; i++)
	{
		joint_1_data[i] = byte_8.buffer[i];
	}

	byte_8.udata = BufferOut.Cust.motor_2;
	for (size_t i = 0; i < 8; i++)
	{
		joint_2_data[i] = byte_8.buffer[i];
	}

	byte_8.udata = BufferOut.Cust.motor_3;
	for (size_t i = 0; i < 8; i++)
	{
		joint_3_data[i] = byte_8.buffer[i];
	}

	byte_8.udata = BufferOut.Cust.motor_4;
	for (size_t i = 0; i < 8; i++)
	{
		joint_4_data[i] = byte_8.buffer[i];
	}

	byte_8.udata = BufferOut.Cust.motor_5;
	for (size_t i = 0; i < 8; i++)
	{
		joint_5_data[i] = byte_8.buffer[i];
	}

	byte_8.udata = BufferOut.Cust.motor_6;
	for (size_t i = 0; i < 8; i++)
	{
		joint_6_data[i] = byte_8.buffer[i];
	}

	byte_8.udata = BufferOut.Cust.motor_7;
	for (size_t i = 0; i < 8; i++)
	{
		joint_7_data[i] = byte_8.buffer[i];
	}

	byte_8.udata = BufferOut.Cust.motor_8;
	for (size_t i = 0; i < 8; i++)
	{
		joint_8_data[i] = byte_8.buffer[i];
	}

	byte_8.udata = BufferOut.Cust.motor_9;
	for (size_t i = 0; i < 8; i++)
	{
		joint_9_data[i] = byte_8.buffer[i];
	}

	byte_8.udata = BufferOut.Cust.motor_10;
	for (size_t i = 0; i < 8; i++)
	{
		joint_10_data[i] = byte_8.buffer[i];
	}

	byte_8.udata = BufferOut.Cust.motor_11;
	for (size_t i = 0; i < 8; i++)
	{
		joint_11_data[i] = byte_8.buffer[i];
	}

	byte_8.udata = BufferOut.Cust.motor_12;
	for (size_t i = 0; i < 8; i++)
	{
		joint_12_data[i] = byte_8.buffer[i];
	}

	byte_8.udata = BufferOut.Cust.motor_13;
	for (size_t i = 0; i < 8; i++)
	{
		joint_13_data[i] = byte_8.buffer[i];
	}

	byte_8.udata = BufferOut.Cust.motor_14;
	for (size_t i = 0; i < 8; i++)
	{
		joint_14_data[i] = byte_8.buffer[i];
	}
}

void control()
{
	/*int is_init = 0;

	if (control_word == 3 && is_enable == 0)
	{
		// send enable cmd
		motor_encoder_val(&joint_encoder, joint_encoder_data, 1);
		send_to_joint(1);
		motor_encoder_val(&joint_encoder, joint_encoder_data, 2);
		send_to_joint(2);
		motor_encoder_val(&joint_encoder, joint_encoder_data, 3);
		send_to_joint(3);
		motor_encoder_val(&joint_encoder, joint_encoder_data, 4);
		send_to_joint(4);
		motor_encoder_val(&joint_encoder, joint_encoder_data, 5);
		send_to_joint(5);
		motor_encoder_val(&joint_encoder, joint_encoder_data, 6);
		send_to_joint(6);
	}

	if (control_word == 2 && is_enable == 1)
	{
		//safe torque off
		//TODO:
		motor_disable(&joint_1, joint_1_data);
		motor_disable(&joint_2, joint_2_data);
		motor_disable(&joint_3, joint_3_data);
		motor_disable(&joint_4, joint_4_data);
		motor_disable(&joint_5, joint_5_data);
		motor_disable(&joint_6, joint_6_data);

		send_to_all_slave();

	}
	if (control_word == 1 && is_enable == 0)
	{
		// send enable cmd
		motor_enable(&joint_1, joint_1_data);
		motor_enable(&joint_2, joint_2_data);
		motor_enable(&joint_3, joint_3_data);
		motor_enable(&joint_4, joint_4_data);
		motor_enable(&joint_5, joint_5_data);
		motor_enable(&joint_6, joint_6_data);

		send_to_all_slave();

		is_enable = 1;
		motor_init_state = 1;
		is_init = 1;
	}
	if (is_init)
	{
		return;
	}

	if (motor_init_state == 1)
	{
		motor_init_state = 0;
	}*/

	/*int is_init = 0;

	if (control_word == 1 && is_enable == 0)
	{
		// send enable cmd
		motor_enable(&joint_1, joint_1_data);
		motor_enable(&joint_2, joint_2_data);
		motor_enable(&joint_3, joint_3_data);
		motor_enable(&joint_4, joint_4_data);
		motor_enable(&joint_5, joint_5_data);
		motor_enable(&joint_6, joint_6_data);
		motor_enable(&joint_7, joint_7_data);

		motor_enable(&joint_8, joint_8_data);
		motor_enable(&joint_9, joint_9_data);
		motor_enable(&joint_10, joint_10_data);
		motor_enable(&joint_11, joint_11_data);
		motor_enable(&joint_12, joint_12_data);
		motor_enable(&joint_13, joint_13_data);
		motor_enable(&joint_14, joint_14_data);

		send_to_all_slave();

		is_enable = 1;
		//motor_init_state = 1;
		is_init = 1;
	}
	if (is_init)
	{
		return;
	}*/

	/*if (motor_init_state == 1)
	{
		motor_init_state = 0;
	}*/

	if (control_word == 1)
	{
		pack_motor_data();
		send_to_all_slave();
	}
}

uint16_t get_motor_status()
{
	int motor_msg[6];

	uint16_t motor_status_ = 0;

	for (size_t i = 0; i < 6; i++)
	{
		if ((reply_hs[i] + 10) < hs_)
		{
			motor_msg[i] = 0;
		}
		else
		{
			motor_msg[i] = 1;
			motor_status_ |= 1 << i;
		}
	}
	return motor_status_;
}

void pack_hs_loss_data(int slave_no, uint64_t data)
{
	uint64_t bit_offset = ((slave_no - 1) * 8);
	uint64_t tmp_one = 1;
	/*BufferIn.Cust.hs_record = BufferIn.Cust.hs_record & (~(tmp_one << (bit_offset)));
	BufferIn.Cust.hs_record = BufferIn.Cust.hs_record & (~(tmp_one << (bit_offset + 1)));
	BufferIn.Cust.hs_record = BufferIn.Cust.hs_record & (~(tmp_one << (bit_offset + 2)));
	BufferIn.Cust.hs_record = BufferIn.Cust.hs_record & (~(tmp_one << (bit_offset + 3)));
	BufferIn.Cust.hs_record = BufferIn.Cust.hs_record & (~(tmp_one << (bit_offset + 4)));
	BufferIn.Cust.hs_record = BufferIn.Cust.hs_record & (~(tmp_one << (bit_offset + 5)));
	BufferIn.Cust.hs_record = BufferIn.Cust.hs_record & (~(tmp_one << (bit_offset + 6)));
	BufferIn.Cust.hs_record = BufferIn.Cust.hs_record & (~(tmp_one << (bit_offset + 7)));
	BufferIn.Cust.hs_record = (BufferIn.Cust.hs_record | (data << bit_offset));*/
}

void pack_hs_data()
{
	for (size_t i = 0; i < 6; i++)
	{
		uint64_t tmp = hs_ - reply_hs[i];

		if (tmp > 250)
		{
			tmp = 250;
		}

		pack_hs_loss_data(i, tmp);

	}
}

void pack_ethercat_data()
{
	BufferIn.Cust.hs = hs_;

	BufferIn.Cust.motor_1 = joint_r_data[0];
	BufferIn.Cust.motor_2 = joint_r_data[1];
	BufferIn.Cust.motor_3 = joint_r_data[2];
	BufferIn.Cust.motor_4 = joint_r_data[3];
	BufferIn.Cust.motor_5 = joint_r_data[4];
	BufferIn.Cust.motor_6 = joint_r_data[5];
	BufferIn.Cust.motor_7 = joint_r_data[6];
	BufferIn.Cust.motor_8 = joint_r_data[7];
	BufferIn.Cust.motor_9 = joint_r_data[8];
	BufferIn.Cust.motor_10 = joint_r_data[9];
	BufferIn.Cust.motor_11 = joint_r_data[10];
	BufferIn.Cust.motor_12 = joint_r_data[11];
	BufferIn.Cust.motor_13 = joint_r_data[12];
	BufferIn.Cust.motor_14 = joint_r_data[13];

	/*BufferIn.Cust.can1_error_log = can1_error_counter;
	BufferIn.Cust.can2_error_log = can2_error_counter;

	BufferIn.Cust.rec_error_can1 = (uint16_t)can1_last_error_code;
	BufferIn.Cust.rec_error_can2 = (uint16_t)can2_last_error_code;*/

	// pack hs data
	pack_hs_data();

	//error protect
	//BufferIn.Cust.motor_status = get_motor_status();
}

void HAL_TIM_PeriodElapsedCallback(TIM_HandleTypeDef *htim)
{
	if (htim->Instance == TIM5)
	{

		pack_ethercat_data();
		main_task(&ethercat_slave);

		uint64_t tmp_hs_ = BufferOut.Cust.hs;

		// 1. control
		if (tmp_hs_ > hs_ || tmp_hs_ == 1)
		{
			//control_word = BufferOut.Cust.control_word;

			control_word = BufferOut.Cust.test;

			if (tmp_hs_ == 1 || tmp_hs_ == 2)
			{
				is_enable = 0;
			}

			control();

			hs_ = tmp_hs_;

		}

		// error check
		can1_last_error_code = READ_REG(hfdcan1.Instance->PSR);
		can1_last_error_code = can1_last_error_code & 0x0007;

		can2_last_error_code = READ_REG(hfdcan2.Instance->PSR);
		can2_last_error_code = can2_last_error_code & 0x0007;

		FDCAN_ErrorCountersTypeDef ErrorCounters;
		uint8_t error_counter1;
		uint8_t error_counter2;
		uint8_t error_counter3;
		uint8_t error_counter4;
		HAL_FDCAN_GetErrorCounters(&hfdcan1, &ErrorCounters);
		error_counter1 = (uint8_t)ErrorCounters.RxErrorCnt;
		error_counter2 = (uint8_t)ErrorCounters.TxErrorCnt;

		can1_error_counter += error_counter1;
		can1_error_counter += error_counter2;

		HAL_FDCAN_GetErrorCounters(&hfdcan2, &ErrorCounters);
		error_counter3 = (uint8_t)ErrorCounters.RxErrorCnt;
		error_counter4 = (uint8_t)ErrorCounters.TxErrorCnt;

		can2_error_counter += error_counter3;
		can2_error_counter += error_counter4;
	}
}

/* USER CODE END 4 */

/* MPU Configuration */

void MPU_Config(void)
{
  MPU_Region_InitTypeDef MPU_InitStruct = {0};

  /* Disables the MPU */
  HAL_MPU_Disable();

  /** Initializes and configures the Region and the memory to be protected
  */
  MPU_InitStruct.Enable = MPU_REGION_ENABLE;
  MPU_InitStruct.Number = MPU_REGION_NUMBER0;
  MPU_InitStruct.BaseAddress = 0x0;
  MPU_InitStruct.Size = MPU_REGION_SIZE_4GB;
  MPU_InitStruct.SubRegionDisable = 0x87;
  MPU_InitStruct.TypeExtField = MPU_TEX_LEVEL0;
  MPU_InitStruct.AccessPermission = MPU_REGION_NO_ACCESS;
  MPU_InitStruct.DisableExec = MPU_INSTRUCTION_ACCESS_DISABLE;
  MPU_InitStruct.IsShareable = MPU_ACCESS_SHAREABLE;
  MPU_InitStruct.IsCacheable = MPU_ACCESS_NOT_CACHEABLE;
  MPU_InitStruct.IsBufferable = MPU_ACCESS_NOT_BUFFERABLE;

  HAL_MPU_ConfigRegion(&MPU_InitStruct);
  /* Enables the MPU */
  HAL_MPU_Enable(MPU_PRIVILEGED_DEFAULT);

}

void Error_Handler(void)
{
  __disable_irq();
  while (1)
  {
  }
}
